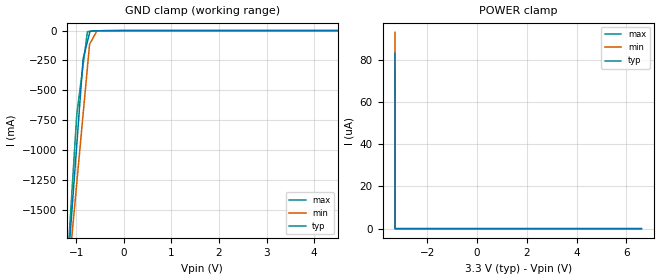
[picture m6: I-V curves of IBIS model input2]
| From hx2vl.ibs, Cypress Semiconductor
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[Model]   input2
Model_type   Input
Vinl = 0.8
Vinh = 2.0
|   typ   min   max
C_comp   0.9pF   0.8pF   1.0pF
[Voltage Range]   3.3   3   3.6
[Temperature Range]   25   100   -20
[Power Clamp Reference]   3.3   3   3.6
[GND Clamp Reference]   0   0   0
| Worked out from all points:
|   GND clamp passes 1 mA (typ) near -0.38 V on its own axis
[GND Clamp]
|   Voltage   I(typ)   I(min)   I(max)
-3.303V   -13.44A    -11.29A    -15.36A
-1.155V   -1.847A    -1.989A    -1.75A
-1.096V   -1.526A    -1.732A    -1.373A
-988.8mV  -949.6mA   -1.269A    -698.1mA
-858mV    -243.7mA   -704.4mA   -293mA
-854.7mV  -231.8mA   -690.2mA   -282.8mA
-765.6mV  -91.27mA   -305.9mA   -9.042mA
-720mV    -19.36mA   -114.8mA   -6.5mA
-709.5mV  -4.72mA    -107.1mA   -5.948mA
-567mV    -1.692mA   -2.434mA   -2.17mA
6.607V    0A         0A         0A
[POWER Clamp]
|   Voltage   I(typ)   I(min)   I(max)
-3.303V   83.28uA    93.03uA    75.02uA
-3.303V   75.71uA    84.58uA    68.2uA
-3.3V     0A         0A         0A
6.607V    0A         0A         0A
